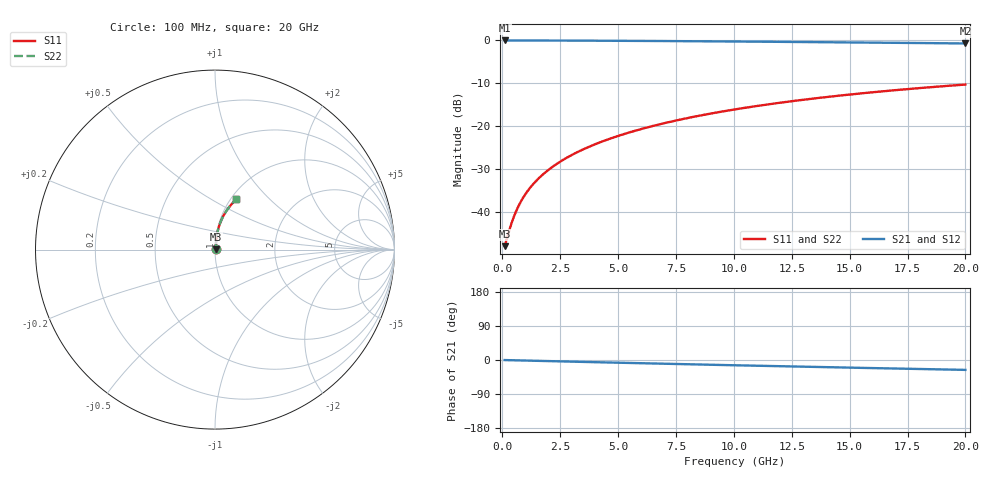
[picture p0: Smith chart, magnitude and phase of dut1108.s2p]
! Touchstone file exported from HFSS 2024.1.0
!  File:  C:/UserFiles/LocalFiles/RDL_TSV_Batchsim/temp_RDL_bottom_1108_1780054313.aedt
!  Generated:  07:34:44 PM May 29, 2026
!  Design:  RDL_bottom
!  Project:  temp_RDL_bottom_1108_1780054313
!  Setup:  Setup1
!  Solution:  Sweep
! Variables:
!  dtsv = 10.80580581um
!  hbump = 3um
!  htsv = 88.65um
!  ldown = 308.88um
!  lrdl = 100um
!  p = 40
!  p1 = 46.45um
!  rhole = 1um
!  t = 450um
!  tdown = 2.05um
!  trdl = 3.915915916um
!  wdown = 16.21um
!  wrdl = 20um
# GHz S MA R 50.000000
! Terminal data exported
! Port[1] = RDL1_T1
! Port[2] = RDL1_T2
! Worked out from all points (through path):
!   200 points, 100 MHz to 20 GHz, reference 50 ohm
!   highest |S21| = -0.03 dB at 100 MHz (marker M1); lowest = -0.7 dB at 20 GHz (marker M2)
!   group delay of S21, straight-line fit = 3.61 ps
!   lowest |S11| = -48.1 dB at 100 MHz (marker M3), VSWR 1.01, Z = 50.4 + j0.162 ohm
!   |S11| at or under -10 dB: start of sweep to end of sweep
!   |S22| runs from -48.1 to -10.3 dB; largest |S21 - S12| = 3.5e-15
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0.1  0.003949 24.0  0.9964 -0.2  0.9964 -0.2  0.003949 24.0
! Gamma 0 0 0 0
! Port Impedance 50 0 50 0
0.4  0.007335 59.1  0.9962 -0.6  0.9962 -0.6  0.007335 59.1
0.5  0.008725 63.9  0.9961 -0.7  0.9961 -0.7  0.008725 63.9
0.6  0.01015 67.4  0.996 -0.9  0.996 -0.9  0.01015 67.4
0.7  0.01161 69.9  0.9959 -1.0  0.9959 -1.0  0.01161 69.9
0.9  0.01454 73.4  0.9956 -1.3  0.9956 -1.3  0.01454 73.4
1.2  0.01896 76.6  0.9953 -1.8  0.9953 -1.8  0.01896 76.6
1.4  0.02192 77.9  0.995 -2.1  0.995 -2.1  0.02192 77.9
1.7  0.02636 79.4  0.9946 -2.5  0.9946 -2.5  0.02636 79.4
2.2  0.0338 80.9  0.9939 -3.2  0.9939 -3.2  0.0338 80.9
2.8  0.0428 82.0  0.9929 -4.1  0.9929 -4.1  0.0428 82.0
3.5  0.05341 82.5  0.9914 -5.1  0.9914 -5.1  0.05341 82.5
4.2  0.06412 82.7  0.9897 -6.0  0.9897 -6.0  0.06412 82.7
5  0.07649 82.6  0.9875 -7.2  0.9875 -7.2  0.07649 82.6
5.9  0.09054 82.2  0.9847 -8.4  0.9847 -8.4  0.09054 82.3
6.8  0.1047 81.7  0.9817 -9.6  0.9817 -9.6  0.1047 81.7
8.4  0.13 80.3  0.9756 -11.8  0.9756 -11.8  0.13 80.3
10.1  0.157 78.6  0.9685 -14.0  0.9685 -14.0  0.157 78.6
11.7  0.1821 76.9  0.9614 -16.0  0.9614 -16.0  0.1822 76.9
13.4  0.2085 74.9  0.9534 -18.2  0.9534 -18.2  0.2085 74.9
16.7  0.2579 70.9  0.9367 -22.2  0.9367 -22.2  0.2579 70.9
20  0.3046 67.0  0.919 -26.1  0.919 -26.1  0.3046 67.0
